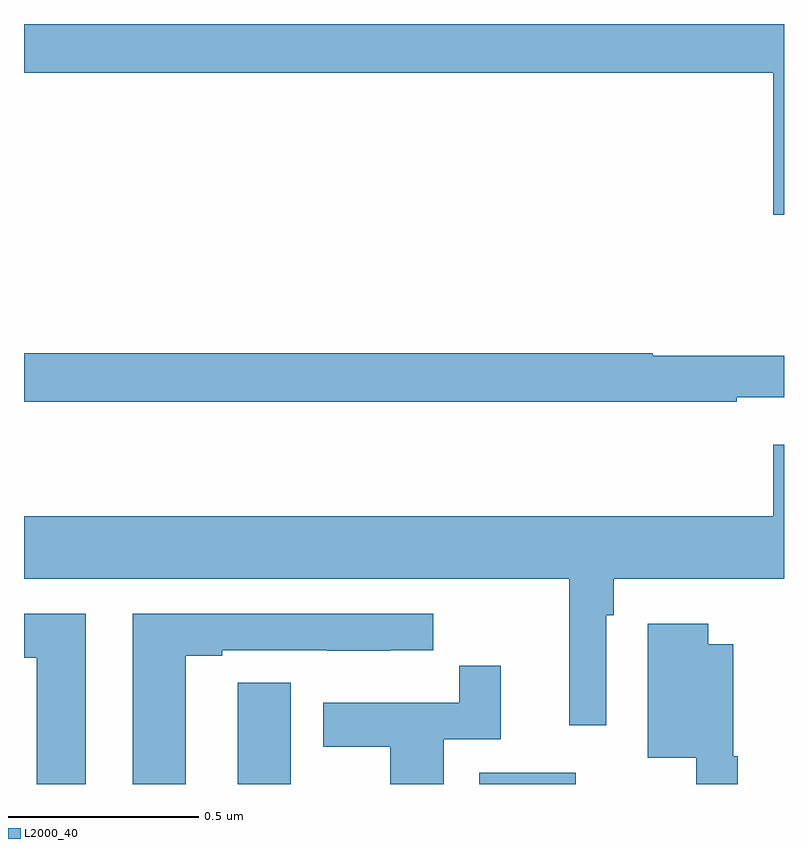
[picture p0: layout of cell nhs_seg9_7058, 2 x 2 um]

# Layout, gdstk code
import gdstk
lib = gdstk.Library(unit=1e-6, precision=1e-09)
def R(c, l, rs):  # rectangles x0, y0, x1, y1
    for r in rs: c.add(gdstk.rectangle(r[:2], r[2:], *l))
def P(c, l, *ps):  # polygons
    for p in ps: c.add(gdstk.Polygon(p, *l))
L2000_40 = (2000, 40)

nhs_seg9_7058 = lib.new_cell('nhs_seg9_7058')
R(nhs_seg9_7058, L2000_40, [(200.198,1242.5,200.452,1242.529)])
P(nhs_seg9_7058, L2000_40, [(201,1244.5),(199,1244.5),(199,1244.372),(200.972,1244.372),(200.972,1243.998),(201,1243.998)],
  [(200.876,1243.518),(201,1243.518),(201,1243.627),(200.655,1243.627),(200.655,1243.634),(199,1243.634),(199,1243.506),(200.876,1243.506)],
  [(200.532,1242.944),(200.552,1242.944),(200.552,1243.04),(201,1243.04),(201,1243.393),(200.972,1243.393),(200.972,1243.204),(199,1243.204),(199,1243.04),(200.435,1243.04),(200.435,1242.654),(200.532,1242.654)],
  [(199.162,1242.948),(199,1242.948),(199,1242.832),(199.034,1242.832),(199.034,1242.5),(199.162,1242.5)],
  [(199.426,1242.837),(199.522,1242.837),(199.522,1242.852),(199.798,1242.852),(199.798,1242.851),(199.964,1242.851),(199.964,1242.852),(200.077,1242.852),(200.077,1242.948),(199.286,1242.948),(199.286,1242.5),(199.426,1242.5)],
  [(200.878,1242.573),(200.866,1242.573),(200.866,1242.868),(200.8,1242.868),(200.8,1242.922),(200.642,1242.922),(200.642,1242.569),(200.769,1242.569),(200.769,1242.5),(200.878,1242.5)],
  [(200.104,1242.618),(200.255,1242.618),(200.255,1242.811),(200.146,1242.811),(200.146,1242.714),(199.787,1242.714),(199.787,1242.598),(199.964,1242.598),(199.964,1242.5),(200.104,1242.5)],
  [(199.702,1242.767),(199.563,1242.767),(199.563,1242.659),(199.562,1242.659),(199.562,1242.5),(199.702,1242.5)])

lib.write_gds('nhs_seg9_7058.gds')
